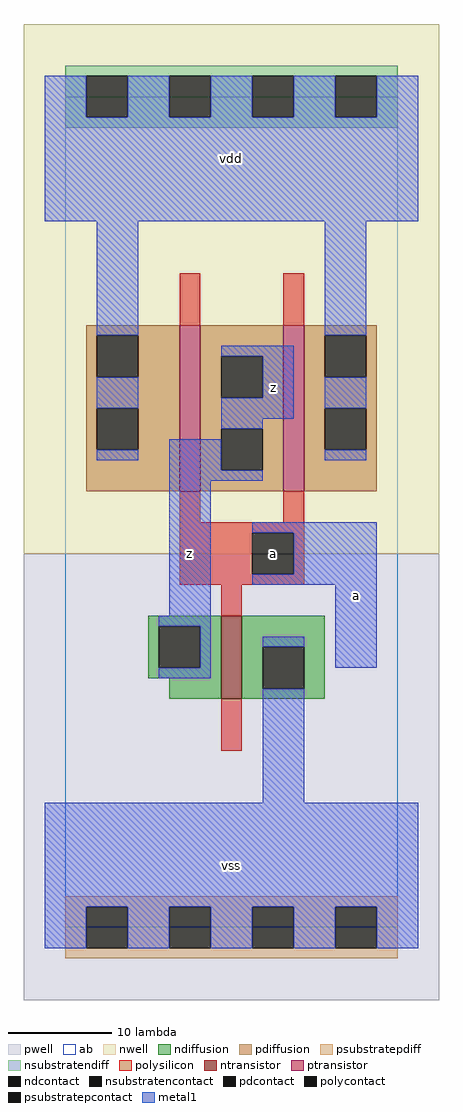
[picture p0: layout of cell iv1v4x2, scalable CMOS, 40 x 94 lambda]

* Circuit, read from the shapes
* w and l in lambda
.subckt iv1v4x2 a vdd vss z
M1 vss a z vss nfet w=8 l=2
M2 z a vdd vdd pfet w=16 l=2 m=2
.ends

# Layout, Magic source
magic
tech scmos
<< ab >>
rect 0 0 32 80
<< pwell >>
rect -4 -7 36 36
<< nwell >>
rect -4 36 36 87
<< polysilicon >>
rect 11 58 13 63
rect 21 58 23 63
rect 11 39 13 42
rect 21 39 23 42
rect 11 38 23 39
rect 11 34 18 38
rect 22 34 23 38
rect 11 33 23 34
rect 15 30 17 33
rect 15 17 17 22
<< ndiffusion >>
rect 8 29 15 30
rect 8 25 9 29
rect 13 25 15 29
rect 8 24 15 25
rect 10 22 15 24
rect 17 27 25 30
rect 17 23 19 27
rect 23 23 25 27
rect 17 22 25 23
<< pdiffusion >>
rect 2 57 11 58
rect 2 53 3 57
rect 7 53 11 57
rect 2 50 11 53
rect 2 46 3 50
rect 7 46 11 50
rect 2 42 11 46
rect 13 55 21 58
rect 13 51 15 55
rect 19 51 21 55
rect 13 48 21 51
rect 13 44 15 48
rect 19 44 21 48
rect 13 42 21 44
rect 23 57 30 58
rect 23 53 25 57
rect 29 53 30 57
rect 23 50 30 53
rect 23 46 25 50
rect 29 46 30 50
rect 23 42 30 46
<< metal1 >>
rect -2 78 2 82
rect 6 78 10 82
rect 14 78 18 82
rect 22 78 26 82
rect 30 78 34 82
rect -2 68 34 78
rect 3 57 7 68
rect 25 57 29 68
rect 3 50 7 53
rect 15 55 22 56
rect 19 51 22 55
rect 15 49 22 51
rect 25 50 29 53
rect 15 48 19 49
rect 3 45 7 46
rect 10 44 15 47
rect 25 45 29 46
rect 10 43 19 44
rect 10 30 14 43
rect 18 38 30 39
rect 22 34 30 38
rect 18 33 30 34
rect 9 29 14 30
rect 13 25 14 29
rect 9 24 14 25
rect 19 27 23 28
rect 26 25 30 33
rect 19 12 23 23
rect -2 2 34 12
rect -2 -2 2 2
rect 6 -2 10 2
rect 14 -2 18 2
rect 22 -2 26 2
rect 30 -2 34 2
<< ntransistor >>
rect 15 22 17 30
<< ptransistor >>
rect 11 42 13 58
rect 21 42 23 58
<< polycontact >>
rect 18 34 22 38
<< ndcontact >>
rect 9 25 13 29
rect 19 23 23 27
<< pdcontact >>
rect 3 53 7 57
rect 3 46 7 50
rect 15 51 19 55
rect 15 44 19 48
rect 25 53 29 57
rect 25 46 29 50
<< psubstratepcontact >>
rect 2 -2 6 2
rect 10 -2 14 2
rect 18 -2 22 2
rect 26 -2 30 2
<< nsubstratencontact >>
rect 2 78 6 82
rect 10 78 14 82
rect 18 78 22 82
rect 26 78 30 82
<< psubstratepdiff >>
rect 0 2 32 3
rect 0 -2 2 2
rect 6 -2 10 2
rect 14 -2 18 2
rect 22 -2 26 2
rect 30 -2 32 2
rect 0 -3 32 -2
<< nsubstratendiff >>
rect 0 82 32 83
rect 0 78 2 82
rect 6 78 10 82
rect 14 78 18 82
rect 22 78 26 82
rect 30 78 32 82
rect 0 77 32 78
<< labels >>
rlabel metal1 12 36 12 36 6 z
rlabel metal1 16 6 16 6 6 vss
rlabel polycontact 20 36 20 36 6 a
rlabel metal1 20 52 20 52 6 z
rlabel metal1 16 74 16 74 6 vdd
rlabel metal1 28 32 28 32 6 a
<< end >>
